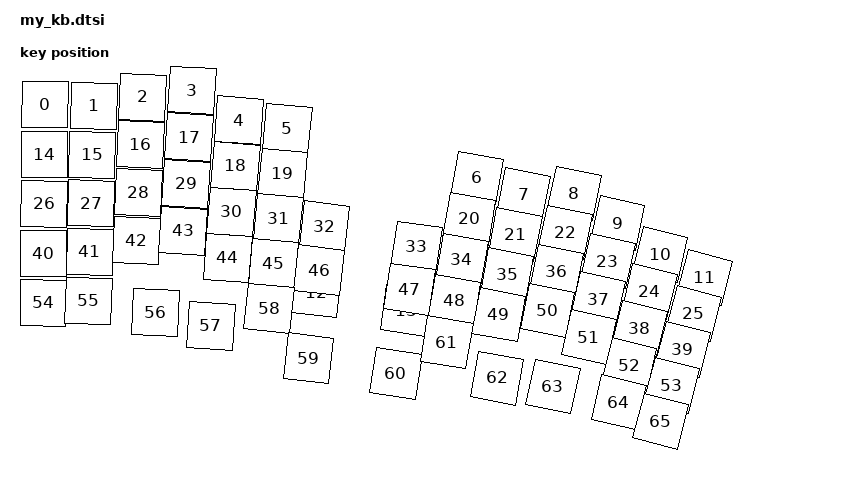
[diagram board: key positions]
#include <dt-bindings/zmk/matrix_transform.h>

#include <dt-bindings/zmk/keys.h>
#include <dt-bindings/zmk/mouse.h> 
#include <input/processors.dtsi>
#include <physical_layouts.dtsi>

#define MAP(row, col) ((row * 16) + col)
/ {
    chosen {
        zmk,kscan = &kscan_composite;
        zmk,matrix_transform = &default_transform;
        zmk,physical-layout = &physical_layout0;
    };

    default_transform: keymap_transform_0 {
        compatible = "zmk,matrix-transform";
        columns = <16>; /* 14 + 左右各1 = 16 */
        rows = <5>;
        map = <
            /* 左手(0-6)                                                        右手(7-13)                                                              左joy-con       右joy-con */
            MAP(0,6) MAP(0,5) MAP(0,4) MAP(0,3) MAP(0,2) MAP(0,1)                        MAP(0,8) MAP(0,9) MAP(0,10) MAP(0,11) MAP(0,12) MAP(0,13)      MAP(0,14)   MAP(0,15)
            MAP(1,6) MAP(1,5) MAP(1,4) MAP(1,3) MAP(1,2) MAP(1,1)                        MAP(1,8) MAP(1,9) MAP(1,10) MAP(1,11) MAP(1,12) MAP(1,13)
            MAP(2,6) MAP(2,5) MAP(2,4) MAP(2,3) MAP(2,2) MAP(2,1) MAP(2,0)      MAP(2,7) MAP(2,8) MAP(2,9) MAP(2,10) MAP(2,11) MAP(2,12) MAP(2,13)
            MAP(3,6) MAP(3,5) MAP(3,4) MAP(3,3) MAP(3,2) MAP(3,1) MAP(3,0)      MAP(3,7) MAP(3,8) MAP(3,9) MAP(3,10) MAP(3,11) MAP(3,12) MAP(3,13)
            MAP(4,6) MAP(4,5)          MAP(4,3) MAP(4,2) MAP(4,1) MAP(4,0)      MAP(4,7) MAP(4,8) MAP(4,9) MAP(4,10)           MAP(4,12) MAP(4,13)
        >;
    };

    /* 既存のマトリックス（.overlayでピン定義） */
    kscan0: kscan {
            compatible = "zmk,kscan-gpio-matrix";
            label = "KSCAN";
            diode-direction = "col2row";
    };

    /* P0.31 の単体スイッチ定義 */
    kscan_direct: kscan_direct {
        compatible = "zmk,kscan-gpio-direct";
        label = "DIRECT_KSCAN";
        //input-gpios
        //  = <&gpio0 31 (GPIO_ACTIVE_LOW | GPIO_PULL_UP)>;
    };

    /* 合成設定 */
    kscan_composite: kscan_composite {
        compatible = "zmk,kscan-composite";
        label = "COMPOSITE_KSCAN";
        rows = <5>;
        columns = <16>;

        matrix {
            kscan = <&kscan0>;
        };

        /* 左手側の追加スイッチを15列目(14)に配置 */
        direct_left {
            kscan = <&kscan_direct>;
            row-offset = <0>;
            column-offset = <14>;
        };

        /* 右手側の追加スイッチを16列目(15)に配置 */
        /* 分割キーボードでは、各サイドのkscanが合算されるため、
           右手側のkscan_directも自動的にこのスロットに入ります */
        direct_right {
            kscan = <&kscan_direct>;
            row-offset = <0>;
            column-offset = <15>;
        };
    };
    physical_layout0: physical_layout_0 {
        compatible = "zmk,physical-layout";
        display-name = "Default Layout";
        transform = <&default_transform>;
        kscan = <&kscan_composite>;
        keys  //                     w   h   x  y   rot rx ry
            =	<&key_physical_attrs 100 100 50 100 50 100 0 >
            ,	<&key_physical_attrs 100 100 150 100 150 100 0 >
            ,	<&key_physical_attrs 100 100 250 75 250 75 0 >
            ,	<&key_physical_attrs 100 100 350 50 350 50 0 >
            ,	<&key_physical_attrs 100 100 450 100 450 100 0 >
            ,	<&key_physical_attrs 100 100 550 100 550 100 0 >
            ,	<&key_physical_attrs 100 100 950 100 950 100 0 >
            ,	<&key_physical_attrs 100 100 1050 100 1050 100 0 >
            ,	<&key_physical_attrs 100 100 1150 50 1150 50 0 >
            ,	<&key_physical_attrs 100 100 1250 75 1250 75 0 >
            ,	<&key_physical_attrs 100 100 1350 100 1350 100 0 >
            ,	<&key_physical_attrs 100 100 1450 100 1450 100 0 >
            ,	<&key_physical_attrs 100 100 650 450 650 450 0 >
            ,	<&key_physical_attrs 100 100 850 450 850 450 0 >
            ,	<&key_physical_attrs 100 100 50 200 50 200 0 >
            ,	<&key_physical_attrs 100 100 150 200 150 200 0 >
            ,	<&key_physical_attrs 100 100 250 175 250 175 0 >
            ,	<&key_physical_attrs 100 100 350 150 350 150 0 >
            ,	<&key_physical_attrs 100 100 450 200 450 200 0 >
            ,	<&key_physical_attrs 100 100 550 200 550 200 0 >
            ,	<&key_physical_attrs 100 100 950 200 950 200 0 >
            ,	<&key_physical_attrs 100 100 1050 200 1050 200 0 >
            ,	<&key_physical_attrs 100 100 1150 150 1150 150 0 >
            ,	<&key_physical_attrs 100 100 1250 175 1250 175 0 >
            ,	<&key_physical_attrs 100 100 1350 200 1350 200 0 >
            ,	<&key_physical_attrs 100 100 1450 200 1450 200 0 >
            ,	<&key_physical_attrs 100 100 50 300 50 300 0 >
            ,	<&key_physical_attrs 100 100 150 300 150 300 0 >
            ,	<&key_physical_attrs 100 100 250 275 250 275 0 >
            ,	<&key_physical_attrs 100 100 350 250 350 250 0 >
            ,	<&key_physical_attrs 100 100 450 300 450 300 0 >
            ,	<&key_physical_attrs 100 100 550 300 550 300 0 >
            ,	<&key_physical_attrs 100 100 650 300 650 300 0 >
            ,	<&key_physical_attrs 100 100 850 300 850 300 0 >
            ,	<&key_physical_attrs 100 100 950 300 950 300 0 >
            ,	<&key_physical_attrs 100 100 1050 300 1050 300 0 >
            ,	<&key_physical_attrs 100 100 1150 250 1150 250 0 >
            ,	<&key_physical_attrs 100 100 1250 275 1250 275 0 >
            ,	<&key_physical_attrs 100 100 1350 300 1350 300 0 >
            ,	<&key_physical_attrs 100 100 1450 300 1450 300 0 >
            ,	<&key_physical_attrs 100 100 50 400 50 400 0 >
            ,	<&key_physical_attrs 100 100 150 400 150 400 0 >
            ,	<&key_physical_attrs 100 100 250 375 250 375 0 >
            ,	<&key_physical_attrs 100 100 350 350 350 350 0 >
            ,	<&key_physical_attrs 100 100 450 400 450 400 0 >
            ,	<&key_physical_attrs 100 100 550 400 550 400 0 >
            ,	<&key_physical_attrs 100 100 650 400 650 400 0 >
            ,	<&key_physical_attrs 100 100 850 400 850 400 0 >
            ,	<&key_physical_attrs 100 100 950 400 950 400 0 >
            ,	<&key_physical_attrs 100 100 1050 400 1050 400 0 >
            ,	<&key_physical_attrs 100 100 1150 350 1150 350 0 >
            ,	<&key_physical_attrs 100 100 1250 375 1250 375 0 >
            ,	<&key_physical_attrs 100 100 1350 400 1350 400 0 >
            ,	<&key_physical_attrs 100 100 1450 400 1450 400 0 >
            ,	<&key_physical_attrs 100 100 50 500 50 500 0 >
            ,	<&key_physical_attrs 100 100 150 500 150 500 0 >
            ,	<&key_physical_attrs 100 100 300 525 300 525 0 >
            ,	<&key_physical_attrs 100 100 425 550 425 550 0 >
            ,	<&key_physical_attrs 100 100 550 500 550 500 0 >
            ,	<&key_physical_attrs 100 100 650 600 650 600 0 >
            ,	<&key_physical_attrs 100 100 850 600 850 600 0 >
            ,	<&key_physical_attrs 100 100 950 500 950 500 0 >
            ,	<&key_physical_attrs 100 100 1075 550 1075 550 0 >
            ,	<&key_physical_attrs 100 100 1200 525 1200 525 0 >
            ,	<&key_physical_attrs 100 100 1350 500 1350 500 0 >
            ,	<&key_physical_attrs 100 100 1450 500 1450 500 0 >
            ;	


    };
};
